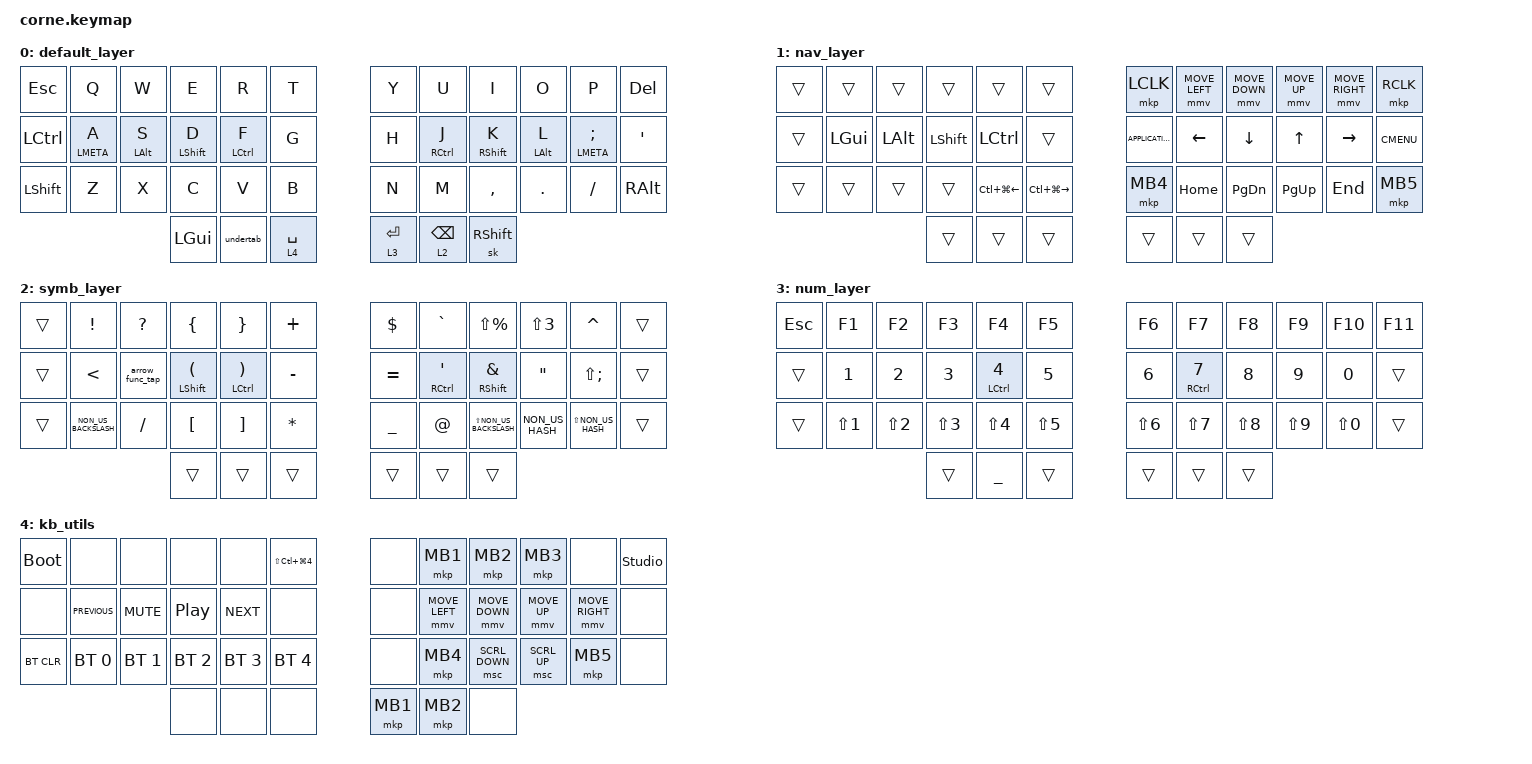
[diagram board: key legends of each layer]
/*
 * Copyright (c) 2020 The ZMK Contributors
 *
 * SPDX-License-Identifier: MIT
 */

#define ZMK_POINTING_DEFAULT_MOVE_VAL 800  // default: 600
#define ZMK_POINTING_DEFAULT_SCRL_VAL 20    // default: 10

#include <zmk-helpers/key-labels/42.h>
#include <behaviors.dtsi>
#include <dt-bindings/zmk/bt.h>
#include <dt-bindings/zmk/keys.h>
#include <dt-bindings/zmk/pointing.h>

&sk {
    release-after-ms = <1000>;
    quick-release;
    lazy;
    ignore-modifiers;
};

&mmv {
    acceleration-exponent = <1>;          // 1
    time-to-max-speed-ms = <500>;         // 300
    delay-ms = <0>;                       // 0
};

&lt {
    tapping-term-ms = <200>; // default 200
    flavor = "balanced"; // or hold-preferred or tap-preferred
    quick-tap-ms = <150>;
};

/ {
    combos {
        compatible = "zmk,combos";

        caps_word {
            bindings = <&caps_word>;
            key-positions = <17 18>;
            layers = <0>;
        };

        esc {
            bindings = <&kp ESCAPE>;
            key-positions = <1 2>;
            layers = <0>;
        };

        vol_up {
            bindings = <&kp C_VOLUME_UP>;
            key-positions = <11 23>;
            layers = <0>;
        };

        combo_vol_down {
            bindings = <&kp C_VOLUME_DOWN>;
            key-positions = <23 35>;
            layers = <0>;
        };

        combo_CAPS_LOCK {
            bindings = <&kp CAPSLOCK>;
            key-positions = <5 6>;
            layers = <0>;
        };

        combo_Delete {
            bindings = <&kp DELETE>;
            key-positions = <10 9>;
            layers = <0>;
        };

        combo_underscore {
            bindings = <&kp UNDER>;
            key-positions = <7 8>;
            layers = <0>;
        };

        combo_dash {
            bindings = <&kp MINUS>;
            key-positions = <4 3>;
            layers = <0>;
        };

        combo_em-dash {
            bindings = <&emdsh>;
            key-positions = <2 3 4>;
            layers = <0>;
        };

        combo_f19 {
            bindings = <&kp F19>;
            key-positions = <1 4 7 10>;
            layers = <0>;
        };

        combo_single-quote {
            bindings = <&kp SINGLE_QUOTE>;
            key-positions = <7 19>;
            layers = <0>;
        };

        combo_double-quote {
            bindings = <&kp AT_SIGN>;
            key-positions = <8 20>;
            layers = <0>;
        };
    };

    macros {
        arrow_func: arrow_func {
            compatible = "zmk,behavior-macro";
            #binding-cells = <0>;
            bindings = <&kp EQUAL &kp GT>, <&macro_press>;

            label = "ARROW_FUNC";
        };

        emdsh: emdsh {
            compatible = "zmk,behavior-macro";
            #binding-cells = <0>;
            bindings =
                <&kp SPACE &kp MINUS &kp MINUS &kp SPACE>,
                <&macro_press>;

            label = "EMDSH";
        };
    };

    behaviors {
        bhm: balanced_homerow_mods {
            compatible = "zmk,behavior-hold-tap";
            #binding-cells = <2>;
            tapping-term-ms = <200>;    // <---[[moderate duration]]
            quick-tap-ms = <0>;
            flavor = "balanced";
            bindings = <&kp>, <&kp>;
        };

        arrow_func_tap: arrow_func_tap {
            compatible = "zmk,behavior-tap-dance";
            label = "ARROW_FUNC_TAP";
            #binding-cells = <0>;
            bindings = <&kp GREATER_THAN>, <&arrow_func>;
        };

        undertab: undertab {
            compatible = "zmk,behavior-mod-morph";
            label = "UNDERTAB";
            bindings = <&lt 1 TAB>, <&kp UNDER>;

            #binding-cells = <0>;
            mods = <(MOD_RSFT)>;
        };
    };

    keymap {
        compatible = "zmk,keymap";

        default_layer {
            // -----------------------------------------------------------------------------------------
            // |  TAB |  Q  |  W  |  E  |  R  |  T  |   |  Y  |  U   |  I  |  O  |  P  | BSPC |
            // | CTRL |  A  |  S  |  D  |  F  |  G  |   |  H  |  J   |  K  |  L  |  ;  |  '   |
            // | SHFT |  Z  |  X  |  C  |  V  |  B  |   |  N  |  M   |  ,  |  .  |  /  | ESC  |
            //                    | GUI | LWR | SPC |   | ENT | RSE  | ALT |

            bindings = <
&kp ESC    &kp Q         &kp W            &kp E              &kp R         &kp T          &kp Y      &kp U            &kp I               &kp O            &kp P                 &kp DELETE
&kp LCTRL  &bhm LMETA A  &bhm LEFT_ALT S  &bhm LEFT_SHIFT D  &bhm LCTRL F  &kp G          &kp H      &bhm RCTRL J     &bhm RIGHT_SHIFT K  &bhm LEFT_ALT L  &bhm LMETA SEMICOLON  &kp SQT
&kp LSHFT  &kp Z         &kp X            &kp C              &kp V         &kp B          &kp N      &kp M            &kp COMMA           &kp DOT          &kp FSLH              &kp RIGHT_ALT
                                          &kp LGUI           &undertab     &lt 4 SPACE    &lt 3 RET  &lt 2 BACKSPACE  &sk RIGHT_SHIFT
            >;
        };

        nav_layer {
            bindings = <
&trans  &trans    &trans    &trans          &trans            &trans               &mkp LCLK          &mmv MOVE_LEFT  &mmv MOVE_DOWN  &mmv MOVE_UP  &mmv MOVE_RIGHT  &mkp RCLK
&trans  &kp LGUI  &kp LALT  &kp LEFT_SHIFT  &kp LEFT_CONTROL  &trans               &kp K_APPLICATION  &kp LEFT        &kp DOWN_ARROW  &kp UP_ARROW  &kp RIGHT        &kp K_CMENU
&trans  &trans    &trans    &trans          &kp LC(LG(LEFT))  &kp LC(LG(RIGHT))    &mkp MB4           &kp HOME        &kp PAGE_DOWN   &kp PG_UP     &kp END          &mkp MB5
                            &trans          &trans            &trans               &trans             &trans          &trans
            >;
        };

        symb_layer {
            bindings = <
&trans  &kp EXCLAMATION       &kp QUESTION     &kp LEFT_BRACE                    &kp RIGHT_BRACE               &kp PLUS        &kp DOLLAR      &kp GRAVE                &kp LS(PERCENT)             &kp LS(NUMBER_3)   &kp CARET            &trans
&trans  &kp LESS_THAN         &arrow_func_tap  &bhm LEFT_SHIFT LEFT_PARENTHESIS  &bhm LCTRL RIGHT_PARENTHESIS  &kp MINUS       &kp EQUAL       &bhm RCTRL SINGLE_QUOTE  &bhm RIGHT_SHIFT AMPERSAND  &kp DOUBLE_QUOTES  &kp LS(SEMICOLON)    &trans
&trans  &kp NON_US_BACKSLASH  &kp SLASH        &kp LEFT_BRACKET                  &kp RIGHT_BRACKET             &kp ASTERISK    &kp UNDERSCORE  &kp AT_SIGN              &kp LS(NON_US_BACKSLASH)    &kp NON_US_HASH    &kp LS(NON_US_HASH)  &trans
                                               &trans                            &trans                        &trans          &trans          &trans                   &trans
            >;
        };

        num_layer {
            bindings = <
&kp ESC  &kp F1      &kp F2      &kp F3      &kp F4               &kp F5        &kp F6      &kp F7               &kp F8      &kp F9      &kp F10     &kp F11
&trans   &kp N1      &kp N2      &kp N3      &bhm LCTRL NUMBER_4  &kp N5        &kp N6      &bhm RCTRL NUMBER_7  &kp N8      &kp N9      &kp N0      &trans
&trans   &kp LS(N1)  &kp LS(N2)  &kp LS(N3)  &kp LS(N4)           &kp LS(N5)    &kp LS(N6)  &kp LS(N7)           &kp LS(N8)  &kp LS(N9)  &kp LS(N0)  &trans
                                 &trans      &kp UNDER            &trans        &trans      &trans               &trans
            >;
        };

        kb_utils {
            bindings = <
&bootloader  &none           &none         &none             &none         &kp LS(LC(LG(NUMBER_4)))    &none     &mkp MB1        &mkp MB2        &mkp MB3      &none            &studio_unlock
&none        &kp C_PREVIOUS  &kp C_MUTE    &kp C_PLAY_PAUSE  &kp C_NEXT    &none                       &none     &mmv MOVE_LEFT  &mmv MOVE_DOWN  &mmv MOVE_UP  &mmv MOVE_RIGHT  &none
&bt BT_CLR   &bt BT_SEL 0    &bt BT_SEL 1  &bt BT_SEL 2      &bt BT_SEL 3  &bt BT_SEL 4                &none     &mkp MB4        &msc SCRL_DOWN  &msc SCRL_UP  &mkp MB5         &none
                                           &none             &none         &none                       &mkp MB1  &mkp MB2        &none
            >;
        };
    };

    conditional_layers { compatible = "zmk,conditional-layers"; };
};
